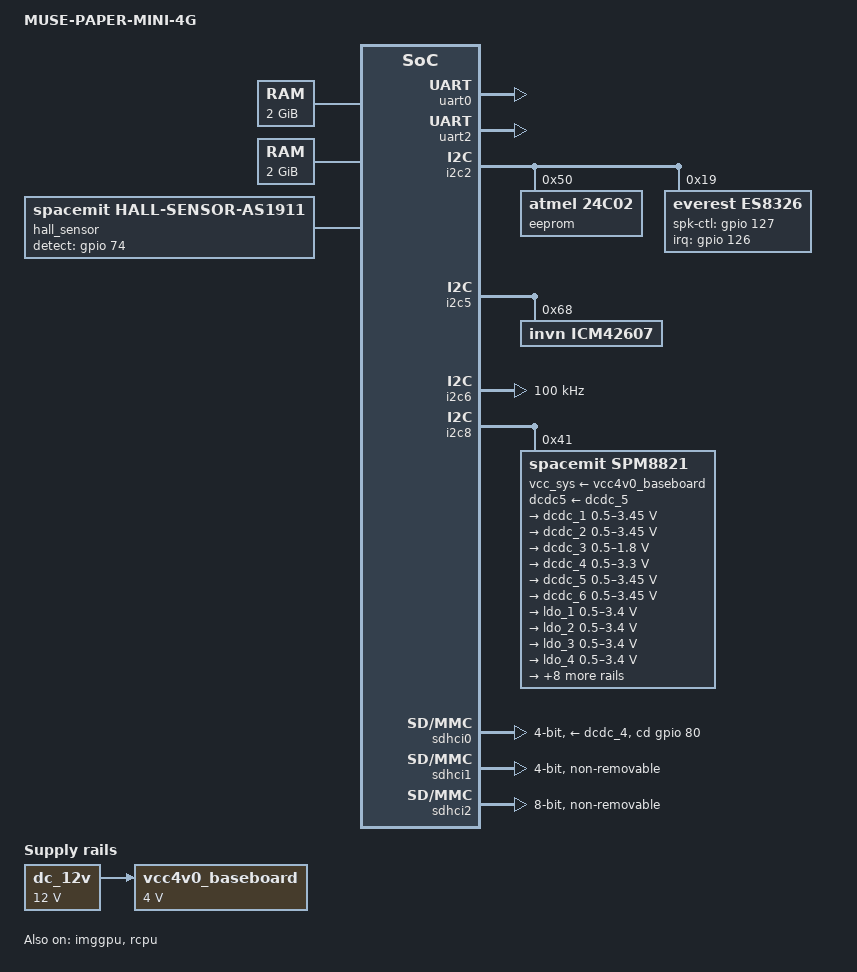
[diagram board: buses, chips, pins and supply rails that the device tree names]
// SPDX-License-Identifier: (GPL-2.0 OR MIT)
/* Copyright (c) 2023 Spacemit, Inc */

/dts-v1/;

#include "k1-x.dtsi"
//#include "k1-x-efuse.dtsi"
#include "k1-x_pinctrl.dtsi"
#include "lcd/lcd_icnl9951r_mipi.dtsi"
#include "k1-x-lcd.dtsi"
#include "k1-x-hdmi.dtsi"
//#include "k1-x_opp_table.dtsi"
//#include "k1-x_thermal_cooling.dtsi"
#include "k1-x-camera-sdk.dtsi"
#include <dt-bindings/gpio/gpio.h>
#include <dt-bindings/input/input.h>

/ {
	model = "MUSE-PAPER-MINI-4G";
	modules_usrload = "8852bs";

	cpus: cpus {
		#address-cells = <1>;
		#size-cells = <0>;
		timebase-frequency = <24000000>;

		cpu_0: cpu@0 {
			cpu-ai = "true";
		};

		cpu_1: cpu@1 {
			cpu-ai = "true";
		};

		cpu_2: cpu@2 {
			reg = <2>;
			cpu-ai = "true";
		};

		cpu_3: cpu@3 {
			reg = <3>;
			cpu-ai = "true";
		};

		cpu-map {
			cluster0 {
				core0 {
					cpu = <&cpu_0>;
				};

				core1 {
					cpu = <&cpu_1>;
				};

				core2 {
					cpu = <&cpu_2>;
				};

				core3 {
					cpu = <&cpu_3>;
				};
			};

			cluster1 {
				core0 {
					cpu = <&cpu_4>;
				};

				core1 {
					cpu = <&cpu_5>;
				};

				core2 {
					cpu = <&cpu_6>;
				};

				core3 {
					cpu = <&cpu_7>;
				};
			};
		};
	};

	memory@0 {
		device_type = "memory";
		reg = <0x0 0x00000000 0x0 0x80000000>;
	};

	memory@100000000 {
		device_type = "memory";
		reg = <0x1 0x00000000 0x0 0x80000000>;
	};

	reserved-memory {
		#address-cells = <2>;
		#size-cells = <2>;
		ranges;

		linux,cma {
			compatible = "shared-dma-pool";
			/* alloc memory from 0x40000000~0x80000000 */
			alloc-ranges = <0 0x40000000 0 0x40000000>;
			/* size of cma buffer is 384MByte */
			size = <0 0x18000000>;
			/* start address is 1Mbyte aligned */
			alignment = <0x0 0x100000>;
			linux,cma-default;
			/* besides hardware, dma for ex. buffer can be used by memory management */
			reusable;
		};

		/* reserved 384K for dpu, including mmu table(256K) and cmdlist(128K) */
		dpu_resv: dpu_reserved@2ff40000 {
			compatible = "shared-dma-pool";
			reg = <0x0 0x2ff40000 0x0 0x000C0000>;
			no-map;
		};
	};

	chosen {
		bootargs = "earlycon=sbi console=ttyS0,115200n8 debug loglevel=8 swiotlb=65536 rdinit=/init";
		stdout-path = "serial0:115200n8";
	};

	dc_12v: dc-12v {
		compatible = "regulator-fixed";
		regulator-name = "dc_12v";
		regulator-always-on;
		regulator-boot-on;
		regulator-min-microvolt = <12000000>;
		regulator-max-microvolt = <12000000>;
	};

	vcc4v0_baseboard: vcc4v0-baseboard {
		compatible = "regulator-fixed";
		regulator-name = "vcc4v0_baseboard";
		regulator-always-on;
		regulator-boot-on;
		regulator-min-microvolt = <4000000>;
		regulator-max-microvolt = <4000000>;
		vin-supply = <&dc_12v>;
	};

	rf_pwrseq: rf-pwrseq {
		compatible = "spacemit,rf-pwrseq";
		//vdd-supply = <&ldo_7>;
		//vdd_voltage = <3300000>;
		io-supply = <&dcdc_3>;
		io_voltage = <1800000>;
		pwr-gpios  = <&gpio 67 0>,
			     <&gpio 03 0>;
		status = "disabled";

		wlan_pwrseq: wlan-pwrseq {
			compatible = "spacemit,wlan-pwrseq";
			regon-gpios = <&gpio 116 0>;
			interrupt-parent = <&pinctrl>;
			interrupts = <268>;
			pinctrl-names = "default";
			pinctrl-0 = <&pinctrl_wlan_wakeup>;
		};

		bt_pwrseq: bt-pwrseq {
			compatible = "spacemit,bt-pwrseq";
			reset-gpios     = <&gpio 63 0>;
		};
	};

	usb2hub: usb2hub {
		compatible = "spacemit,usb3-hub";
		vbus-gpios = <&gpio 91 0>;	/* for usb2 hub output vbus */
		status = "disabled";
	};

	hall_sensor: hall-sensor {
		compatible = "spacemit,hall-sensor-as1911";
		detect-gpio = <&gpio 74 0>;
	};

	/*gpio_keys: gpio_keys {
		compatible = "gpio-keys";

		key0: volumeup {
			label = "KEY0";
			linux,code = <KEY_VOLUMEUP>;
			gpios = <&gpio 70 GPIO_ACTIVE_LOW>;
		};

		key1: volumedown {
			label = "KEY1";
			linux,code = <KEY_VOLUMEDOWN>;
			gpios = <&gpio 71 GPIO_ACTIVE_LOW>;
		};
	};*/
};

&uart0 {
	pinctrl-names = "default";
	pinctrl-0 = <&pinctrl_uart0_2>;
	status = "okay";
};

&uart2 {
	pinctrl-names = "default";
	pinctrl-0 = <&pinctrl_uart2>;
	status = "okay";
};

&i2c2 {
	pinctrl-names = "default";
	pinctrl-0 = <&pinctrl_i2c2_0>;
	spacemit,i2c-fast-mode;
	status = "okay";

	eeprom@50{
		compatible = "atmel,24c02";
		reg = <0x50>;
		#address-cells = <1>;
		#size-cells = <1>;

		power-domains = <&power K1X_PMU_DUMMY_PWR_DOMAIN>;
		status = "okay";

		mac_address0: mac_address0@0 {
			reg = <0x0 6>;
		};

		mac_address1: mac_address1@6 {
			reg = <0x6 6>;
		};
	};

	es8326: es8326@19{
		compatible = "everest,es8326";
		reg = <0x19>;
		#sound-dai-cells = <0>;
		interrupt-parent = <&gpio>;
		interrupts = <126 1>;
		spk-ctl-gpio = <&gpio 127 0>;
		everest,jack-detect-inverted;
		everest,mic1-src = [44];
		everest,mic2-src = [66];
		status = "okay";
	};
};

&i2c4 {
	pinctrl-names = "default";
	pinctrl-0 = <&pinctrl_i2c4_2>;
	status = "disabled";
};

&i2c5 {
	pinctrl-names = "default";
	pinctrl-0 = <&pinctrl_i2c5_0>;
	status = "okay";

	accelerometer: accel@15 {
		compatible = "memsic,mxc4005";
		reg = <0x15>;
		status = "disabled";
	};

	icm42607@68 {
		compatible = "invn,icm42607";
		reg = <0x68>;
	};
};


&i2c6 {
	pinctrl-names = "default";
	pinctrl-0 = <&pinctrl_i2c6_0>;
	clock-frequency = <100000>;
	status = "okay";

	ocp2138@3e {
		compatible = "spacemit,lcd_bias_ocp2138";
		reg = <0x3e>;
		status = "disabled";
	};
};

&i2c8 {
	pinctrl-names = "default";
	pinctrl-0 = <&pinctrl_i2c8>;
	status = "okay";

	spm8821@41 {
		compatible = "spacemit,spm8821";
		reg = <0x41>;
		interrupt-parent = <&intc>;
		interrupts = <64>;
		status = "okay";

		vcc_sys-supply = <&vcc4v0_baseboard>;
		dcdc5-supply = <&dcdc_5>;

		regulators {
			compatible = "pmic,regulator,spm8821";

			/* buck */
			dcdc_1: DCDC_REG1 {
				regulator-name = "dcdc1";
				regulator-min-microvolt = <500000>;
				regulator-max-microvolt = <3450000>;
				regulator-ramp-delay = <5000>;
				regulator-always-on;

				regulator-state-mem {
					regulator-off-in-suspend;
					regulator-suspend-microvolt = <650000>;
				};
			};

			dcdc_2: DCDC_REG2 {
				regulator-name = "dcdc2";
				regulator-min-microvolt = <500000>;
				regulator-max-microvolt = <3450000>;
				regulator-ramp-delay = <5000>;
				regulator-always-on;
			};

			dcdc_3: DCDC_REG3 {
				regulator-name = "dcdc3";
				regulator-min-microvolt = <500000>;
				regulator-max-microvolt = <1800000>;
				regulator-ramp-delay = <5000>;
				regulator-always-on;
			};

			dcdc_4: DCDC_REG4 {
				regulator-name = "dcdc4";
				regulator-min-microvolt = <500000>;
				regulator-max-microvolt = <3300000>;
				regulator-ramp-delay = <5000>;
				regulator-always-on;

				regulator-state-mem {
					regulator-off-in-suspend;
					regulator-suspend-microvolt = <3300000>;
				};
			};

			dcdc_5: DCDC_REG5 {
				regulator-name = "dcdc5";
				regulator-min-microvolt = <500000>;
				regulator-max-microvolt = <3450000>;
				regulator-ramp-delay = <5000>;
				regulator-always-on;
			};

			dcdc_6: DCDC_REG6 {
				regulator-name = "dcdc6";
				regulator-min-microvolt = <500000>;
				regulator-max-microvolt = <3450000>;
				regulator-ramp-delay = <5000>;
				regulator-always-on;
			};

			/* aldo */
			ldo_1: LDO_REG1 {
				regulator-name = "ldo1";
				regulator-min-microvolt = <500000>;
				regulator-max-microvolt = <3400000>;
				regulator-boot-on;

				regulator-state-mem {
					regulator-off-in-suspend;
					regulator-suspend-microvolt = <500000>;
				};
			};

			ldo_2: LDO_REG2 {
				regulator-name = "ldo2";
				regulator-min-microvolt = <500000>;
				regulator-max-microvolt = <3400000>;

				regulator-state-mem {
					regulator-off-in-suspend;
					regulator-suspend-microvolt = <500000>;
				};
			};

			ldo_3: LDO_REG3 {
				regulator-name = "ldo3";
				regulator-min-microvolt = <500000>;
				regulator-max-microvolt = <3400000>;

				regulator-state-mem {
					regulator-off-in-suspend;
					regulator-suspend-microvolt = <500000>;
				};
			};

			ldo_4: LDO_REG4 {
				regulator-name = "ldo4";
				regulator-min-microvolt = <500000>;
				regulator-max-microvolt = <3400000>;

				regulator-state-mem {
					regulator-off-in-suspend;
					regulator-suspend-microvolt = <500000>;
				};
			};

			/* dldo */
			ldo_5: LDO_REG5 {
				regulator-name = "ldo5";
				regulator-min-microvolt = <500000>;
				regulator-max-microvolt = <3400000>;
				regulator-boot-on;

				regulator-state-mem {
					regulator-off-in-suspend;
					regulator-suspend-microvolt = <500000>;
				};
			};

			ldo_6: LDO_REG6 {
				regulator-name = "ldo6";
				regulator-min-microvolt = <500000>;
				regulator-max-microvolt = <3400000>;

				regulator-state-mem {
					regulator-off-in-suspend;
					regulator-suspend-microvolt = <500000>;
				};
			};

			ldo_7: LDO_REG7 {
				regulator-name = "ldo7";
				regulator-min-microvolt = <500000>;
				regulator-max-microvolt = <3400000>;

				regulator-state-mem {
					regulator-off-in-suspend;
					regulator-suspend-microvolt = <500000>;
				};
			};

			ldo_8: LDO_REG8 {
				regulator-name = "ldo8";
				regulator-min-microvolt = <500000>;
				regulator-max-microvolt = <3400000>;
				regulator-always-on;
			};

			ldo_9: LDO_REG9 {
				regulator-name = "ldo9";
				regulator-min-microvolt = <500000>;
				regulator-max-microvolt = <3400000>;
			};

			ldo_10: LDO_REG10 {
				regulator-name = "ldo10";
				regulator-min-microvolt = <500000>;
				regulator-max-microvolt = <3400000>;
				regulator-always-on;
			};

			ldo_11: LDO_REG11 {
				regulator-name = "ldo11";
				regulator-min-microvolt = <500000>;
				regulator-max-microvolt = <3400000>;
			};

			sw_1: SWITCH_REG1 {
				regulator-name = "switch1";
			};
		};

		pmic_pinctrl: pinctrl {
			compatible = "pmic,pinctrl,spm8821";
			gpio-controller;
			#gpio-cells = <2>;
			spacemit,npins = <6>;
/**
 *			led_pins: led-pins {
 *				pins = "PIN3";
 *				function = "sleep";
 *				bias-disable = <0>;
 *				drive-open-drain = <0x1>;
 *			};
 */
		};

		pwr_key: key {
			compatible = "pmic,pwrkey,spm8821";
		};

		ext_rtc: rtc {
			compatible = "pmic,rtc,spm8821";
		};
	};

	sgm4154x: sgm4154x@1a {
		status = "disabled";
		compatible = "sgm,sgm41515";
		reg = <0x1a>;
		interrupt-parent = <&gpio>;
		interrupts = <123 0>;            //irq num base on hardware design
		sgm,irq-gpio = <&gpio 123 0>;     //irq num base on hardware design
		sgm,chg-en-gpio = <&gpio 117 0>;   //charger enable gpio num base on hardware design
		nqon-gpios = <&gpio 115 0>;
		/* sw jeita  parameter customer defined*/
		enable_sw_jeita;
		jeita_temp_above_t4_cv = <0>;
		jeita_temp_t3_to_t4_cv = <4100000>;
		jeita_temp_t2_to_t3_cv = <4350000>;
		jeita_temp_t1_to_t2_cv = <4350000>;
		jeita_temp_t0_to_t1_cv = <0>;
		jeita_temp_below_t0_cv = <0>;

		jeita_temp_above_t4_cc_current = <0>;
		jeita_temp_t3_to_t4_cc_current = <1000000>;
		jeita_temp_t2_to_t3_cc_current = <1250000>;
		jeita_temp_t1_to_t2_cc_current = <1000000>;
		jeita_temp_below_t0_cc_current = <0>;

		temp_t4_thres = <50>;
		temp_t4_thres_minus_x_degree = <48>;
		temp_t3_thres = <45>;
		temp_t3_thres_minus_x_degree = <45>;
		temp_t2_thres = <20>;
		temp_t2_thres_plus_x_degree = <15>;
		temp_t1_thres = <0>;
		temp_t1_thres_plus_x_degree = <0>;
		temp_t0_thres = <0>;
		temp_t0_thres_plus_x_degree = <2>;
		temp_neg_10_thres = <0>;
	};
};

&pinctrl {
	pinctrl-single,gpio-range = <
		&range GPIO_03  1 (MUX_MODE0 | EDGE_NONE | PULL_UP   | PAD_1V8_DS2)
		&range GPIO_49  2 (MUX_MODE0 | EDGE_NONE | PULL_UP   | PAD_3V_DS4)
		&range GPIO_58  1 (MUX_MODE0 | EDGE_NONE | PULL_UP   | PAD_1V8_DS2)
		&range GPIO_63  2 (MUX_MODE0 | EDGE_NONE | PULL_UP   | PAD_1V8_DS2)
		&range GPIO_65  1 (MUX_MODE0 | EDGE_NONE | PULL_UP   | PAD_1V8_DS2)
		&range GPIO_66  2 (MUX_MODE0 | EDGE_NONE | PULL_UP   | PAD_3V_DS4)
		&range PRI_TDI  2 (MUX_MODE1 | EDGE_NONE | PULL_UP   | PAD_1V8_DS2)
		&range PRI_TCK  1 (MUX_MODE1 | EDGE_NONE | PULL_DOWN | PAD_1V8_DS2)
		&range PRI_TDO  1 (MUX_MODE1 | EDGE_NONE | PULL_UP   | PAD_1V8_DS2)
		&range GPIO_74  1 (MUX_MODE0 | EDGE_NONE | PULL_UP   | PAD_1V8_DS2)
		&range GPIO_76  1 (MUX_MODE0 | EDGE_NONE | PULL_UP   | PAD_3V_DS4)
		&range GPIO_78  1 (MUX_MODE0 | EDGE_NONE | PULL_UP   | PAD_3V_DS4)
		&range GPIO_80  1 (MUX_MODE0 | EDGE_NONE | PULL_UP   | PAD_3V_DS4)
		&range GPIO_81  3 (MUX_MODE0 | EDGE_NONE | PULL_UP   | PAD_1V8_DS2)
		&range GPIO_89  1 (MUX_MODE0 | EDGE_NONE | PULL_UP   | PAD_1V8_DS2)
		&range GPIO_90  1 (MUX_MODE0 | EDGE_NONE | PULL_DOWN | PAD_1V8_DS2)
		&range GPIO_91  2 (MUX_MODE0 | EDGE_NONE | PULL_UP   | PAD_1V8_DS2)
		&range DVL0     2 (MUX_MODE1 | EDGE_NONE | PULL_DOWN | PAD_1V8_DS2)
		&range GPIO_110 1 (MUX_MODE0 | EDGE_NONE | PULL_DOWN | PAD_1V8_DS2)
		&range GPIO_114 1 (MUX_MODE0 | EDGE_NONE | PULL_DOWN | PAD_1V8_DS2)
		&range GPIO_115 2 (MUX_MODE0 | EDGE_NONE | PULL_DOWN | PAD_1V8_DS2)
		&range GPIO_123 1 (MUX_MODE0 | EDGE_NONE | PULL_DOWN | PAD_1V8_DS2)
		&range GPIO_124 1 (MUX_MODE0 | EDGE_NONE | PULL_UP   | PAD_1V8_DS2)
		&range GPIO_125 3 (MUX_MODE0 | EDGE_NONE | PULL_DOWN | PAD_1V8_DS2)
	>;

	pinctrl_rcpu: pinctrl_rcpu_grp {
		pinctrl-single,pins = <
			K1X_PADCONF(GPIO_47,   MUX_MODE1, (EDGE_NONE | PULL_UP | PAD_3V_DS4))	/* r_uart0_tx */
			K1X_PADCONF(GPIO_48,   MUX_MODE1, (EDGE_NONE | PULL_UP | PAD_3V_DS4))	/* r_uart0_rx */
		>;
	};

	pinctrl_wlan_wakeup: wlan_wakeup_grp {
		pinctrl-single,pins =<
			K1X_PADCONF(GPIO_66, MUX_MODE0, (EDGE_FALL | PULL_DOWN | PAD_3V_DS2))   /* wifi edge detect */
		>;
	};
};

&gpio{
	gpio-ranges = <
		&pinctrl 03  GPIO_03  1
		&pinctrl 49  GPIO_49  2
		&pinctrl 58  GPIO_58  1
		&pinctrl 63  GPIO_63  5
		&pinctrl 70  PRI_TDI  4
		&pinctrl 74  GPIO_74  1
		&pinctrl 76  GPIO_76  1
		&pinctrl 78  GPIO_78  1
		&pinctrl 80  GPIO_80  4
		&pinctrl 89  GPIO_89  4
		&pinctrl 96  DVL0     2
		&pinctrl 110 GPIO_110 1
		&pinctrl 114 GPIO_114 3
		&pinctrl 123 GPIO_123 5
	>;
};

/* SD */
&sdhci0 {
	pinctrl-names = "default","fast";
	pinctrl-0 = <&pinctrl_mmc1>;
	pinctrl-1 = <&pinctrl_mmc1_fast>;
	bus-width = <4>;
	cd-gpios = <&gpio 80 0>;
	vmmc-supply = <&dcdc_4>;
	vqmmc-supply = <&ldo_1>;
	no-mmc;
	no-sdio;
	spacemit,sdh-host-caps-disable = <(
			MMC_CAP_UHS_SDR12 |
			MMC_CAP_UHS_SDR25
			)>;
	spacemit,sdh-quirks = <(
			SDHCI_QUIRK_BROKEN_CARD_DETECTION |
			SDHCI_QUIRK_INVERTED_WRITE_PROTECT |
			SDHCI_QUIRK_BROKEN_TIMEOUT_VAL
			)>;
	spacemit,sdh-quirks2 = <(
			SDHCI_QUIRK2_PRESET_VALUE_BROKEN |
			SDHCI_QUIRK2_BROKEN_PHY_MODULE |
			SDHCI_QUIRK2_SET_AIB_MMC
			)>;
	spacemit,aib_mmc1_io_reg = <0xD401E81C>;
	spacemit,apbc_asfar_reg = <0xD4015050>;
	spacemit,apbc_assar_reg = <0xD4015054>;
	spacemit,rx_dline_reg = <0x0>;
	spacemit,tx_dline_reg = <0x0>;
	spacemit,tx_delaycode = <0x7f>;
	spacemit,rx_tuning_limit = <50>;
	spacemit,sdh-freq = <204800000>;
	status = "okay";
};

/* SDIO */
&sdhci1 {
	pinctrl-names = "default";
	pinctrl-0 = <&pinctrl_mmc2>;
	bus-width = <4>;
	non-removable;
	vqmmc-supply = <&dcdc_3>;
	no-mmc;
	no-sd;
	keep-power-in-suspend;
	/* bcmdhd use private oob solution rather than dat1/standard wakeup */
	/delete-property/ enable-sdio-wakeup;
	spacemit,sdh-host-caps-disable = <(
			MMC_CAP_UHS_DDR50 |
			MMC_CAP_NEEDS_POLL
			)>;
	spacemit,sdh-quirks = <(
			SDHCI_QUIRK_BROKEN_CARD_DETECTION |
			SDHCI_QUIRK_BROKEN_TIMEOUT_VAL
			)>;
	spacemit,sdh-quirks2 = <(
			SDHCI_QUIRK2_PRESET_VALUE_BROKEN |
			SDHCI_QUIRK2_BROKEN_PHY_MODULE
			)>;
	spacemit,rx_dline_reg = <0x0>;
	spacemit,rx_tuning_limit = <50>;
	spacemit,sdh-freq = <375000000>;
	status = "okay";
};

/* eMMC */
&sdhci2 {
	bus-width = <8>;
	non-removable;
	mmc-hs400-1_8v;
	mmc-hs400-enhanced-strobe;
	no-sd;
	no-sdio;
	spacemit,sdh-quirks = <(
			SDHCI_QUIRK_BROKEN_CARD_DETECTION |
			SDHCI_QUIRK_BROKEN_TIMEOUT_VAL
			)>;
	spacemit,sdh-quirks2 = <(
			SDHCI_QUIRK2_PRESET_VALUE_BROKEN
			)>;
	spacemit,sdh-freq = <375000000>;
	status = "okay";
};

&usbphy {
	status = "disabled";
};

&ehci {
	spacemit,reset-on-resume;
	status = "disabled";
};

&udc {
	/*spacemit,udc-mode = <MV_USB_MODE_OTG>;
	spacemit,extern-attr = <MV_USB_HAS_VBUS_IDPIN_DETECTION>;*/
	spacemit,udc-mode = <MV_USB_MODE_UDC>;
	status = "disabled";
};

&usbphy1 {
	status = "disabled";
};

&ehci1 {
	spacemit,reset-on-resume;
	status = "disabled";
};

&usb2phy {
	status = "disabled";
};

&combphy {
	status = "disabled";
};

&usb3hub {
	vbus-gpios = <&gpio 89 0>,
		     <&gpio 124 0>;
	status = "disabled";
};

&usbdrd3 {
	status = "disabled";
	reset-on-resume;
	dwc3@c0a00000 {
		dr_mode = "host";
		phy_type = "utmi";
		snps,hsphy_interface = "utmi";
		snps,dis_enblslpm_quirk;
		snps,dis_u2_susphy_quirk;
		snps,dis_u3_susphy_quirk;
		snps,dis-del-phy-power-chg-quirk;
		snps,dis-tx-ipgap-linecheck-quirk;
		snps,parkmode-disable-ss-quirk;
	};
};

&imggpu {
	status = "okay";
};

&qspi {
	pinctrl-names = "default";
	pinctrl-0 = <&pinctrl_qspi>;
	status = "disabled";

	flash@0 {
		compatible = "jedec,spi-nor";
		reg = <0>;
		spi-max-frequency = <26500000>;
		m25p,fast-read;
		broken-flash-reset;
		status = "okay";
	};
};

&rcpu {
	pinctrl-names = "default";
	pinctrl-0 = <&pinctrl_rcpu>;
	mboxes = <&mailbox 0>, <&mailbox 1>;
	mbox-names = "vq0", "vq1";
	memory-region = <&rcpu_mem_0>, <&vdev0vring0>, <&vdev0vring1>, <&vdev0buffer>, <&rsc_table>, <&rcpu_mem_snapshots>;
	status = "okay";
};

&i2s0 {
        pinctrl-names = "default";
        pinctrl-0 = <&pinctrl_sspa0_0>;
        status = "disabled";
};

&sound_codec {
	status = "disabled";
	simple-audio-card,name = "snd-es8326";
	spacemit,mclk-fs = <64>;
	simple-audio-card,codec {
		sound-dai = <&es8326>;
	};
};
